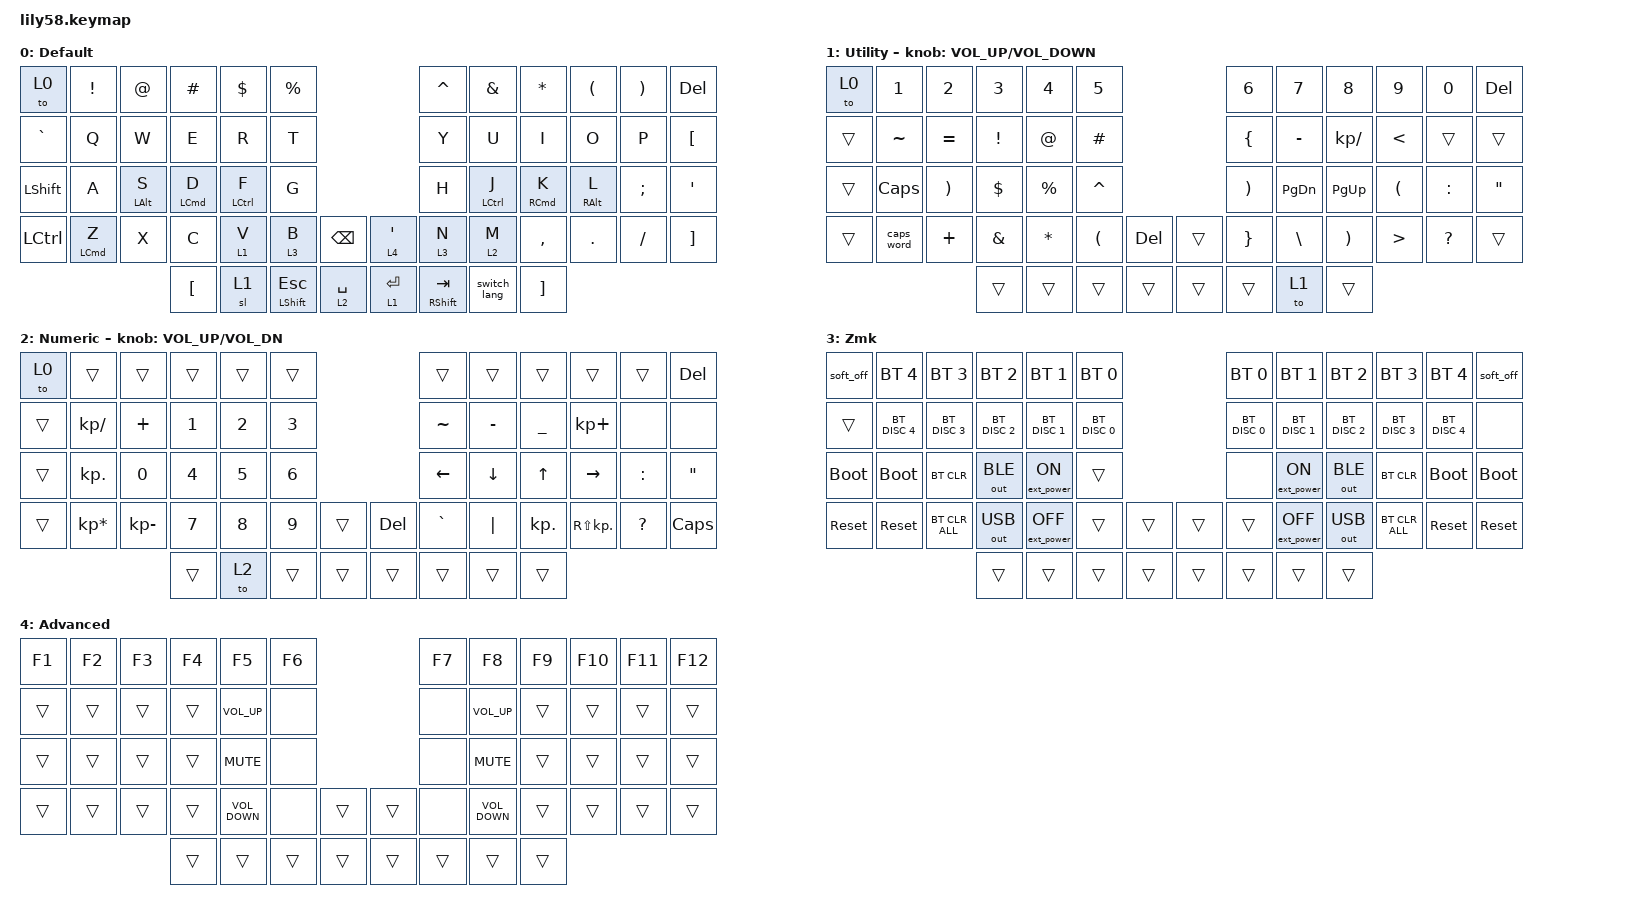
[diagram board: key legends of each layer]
/*
 * Copyright (c) 2020 The ZMK Contributors
 *
 * SPDX-License-Identifier: MIT
 */

#include <behaviors.dtsi>
#include <dt-bindings/zmk/bt.h>
#include <dt-bindings/zmk/ext_power.h>
#include <dt-bindings/zmk/keys.h>
#include <dt-bindings/zmk/outputs.h>

&mt {
    tapping-term-ms = <280>;
    flavor = "tap-preferred";
};

&lt {
    tapping-term-ms = <280>;
    flavor = "hold-preferred";
};

/ {
    macros {
        switch_lang: switch_lang {
            compatible = "zmk,behavior-macro";
            #binding-cells = <0>;
            bindings = <&macro_press &kp RALT>
                , <&macro_tap &kp SPACE>
                , <&macro_release &kp RALT>
                ;
            label = "SWITCH_LANG";
        };
    };

    behaviors {
        mt_cmds: mt_cmds {
            compatible = "zmk,behavior-hold-tap";
            label = "MT_CMDS";
            bindings = <&kp>, <&kp>;

            #binding-cells = <2>;
            tapping-term-ms = <340>;
            flavor = "balanced";
        };

        mt_zmk: mt_zmk {
            compatible = "zmk,behavior-hold-tap";
            label = "MT_ZMK";
            bindings = <&mo>, <&kp>;

            #binding-cells = <2>;
            tapping-term-ms = <1000>;
            flavor = "tap-preferred";
        };

        lt_cmds: lt_cmds {
            compatible = "zmk,behavior-hold-tap";
            label = "LT_CMDS";
            bindings = <&mo>, <&kp>;

            #binding-cells = <2>;
            tapping-term-ms = <340>;
            flavor = "tap-preferred";
        };

        mt_shifts: mt_shifts {
            compatible = "zmk,behavior-hold-tap";
            label = "MT_SHIFTS";
            bindings = <&kp>, <&kp>;

            #binding-cells = <2>;
            tapping-term-ms = <260>;
            flavor = "hold-preferred";
        };
    };

    keymap {
        compatible = "zmk,keymap";

        Default {
            // ------------------------------------------------------------------------------------------------------------
            // |  ESC  |  1  |  2  |  3   |  4   |  5   |                   |  6   |  7    |  8    |  9   |   0   |   `   |
            // |  TAB  |  Q  |  W  |  E   |  R   |  T   |                   |  Y   |  U    |  I    |  O   |   P   |   -   |
            // |  CTRL |  A  |  S  |  D   |  F   |  G   |                   |  H   |  J    |  K    |  L   |   ;   |   '   |
            // | SHIFT |  Z  |  X  |  C   |  V   |  B   |   "["  |  |  "]"  |  N   |  M    |  ,    |  .   |   /   | SHIFT |
            //                     | ALT  | GUI  | LOWER|  SPACE |  | ENTER | RAISE| BSPC  | GUI   |

            bindings = <
&to 0             &kp EXCLAMATION          &kp AT_SIGN          &kp HASH                 &kp DOLLAR               &kp PERCENT                                                        &kp CARET                   &kp AMPERSAND            &kp ASTERISK              &kp LEFT_PARENTHESIS  &kp RIGHT_PARENTHESIS  &kp DEL
&kp GRAVE         &kp Q                    &kp W                &kp E                    &kp R                    &kp T                                                              &kp Y                       &kp U                    &kp I                     &kp O                 &kp P                  &kp LEFT_BRACKET
&kp LEFT_SHIFT    &kp A                    &mt_cmds LEFT_ALT S  &mt_cmds LEFT_COMMAND D  &mt_cmds LEFT_CONTROL F  &kp G                                                              &kp H                       &mt_cmds LEFT_CONTROL J  &mt_cmds RIGHT_COMMAND K  &mt_cmds RIGHT_ALT L  &kp SEMI               &kp SQT
&kp LEFT_CONTROL  &mt_cmds LEFT_COMMAND Z  &kp X                &kp C                    &lt_cmds 1 V             &mt_zmk 3 B                   &kp BACKSPACE    &lt 4 SINGLE_QUOTE  &mt_zmk 3 N                 &lt_cmds 2 M             &kp COMMA                 &kp DOT               &kp FSLH               &kp RIGHT_BRACKET
                                                                &kp LEFT_BRACKET         &sl 1                    &mt_shifts LEFT_SHIFT ESCAPE  &lt 2 SPACE      &lt 1 ENTER         &mt_shifts RIGHT_SHIFT TAB  &switch_lang             &kp RIGHT_BRACKET
            >;
        };

        Utility {
            // ------------------------------------------------------------------------------------------------------------
            // | BTCLR | BT1 | BT2 |  BT3 |  BT4 |  BT5 |                   |      |       |       |      |       |       |
            // |  F1   |  F2 |  F3 |  F4  |  F5  |  F6  |                   |  F7  |  F8   |  F9   |  F10 |  F11  |  F12  |
            // |   `   |  !  |  @  |  #   |  $   |  %   |                   |  ^   |  &    |  *    |  (   |   )   |   ~   |
            // |       |     |     |      |      |      |        |  |       |      |  _    |  +    |  {   |   }   |  "|"  |
            //                     |      |      |      |        |  |       |      |       |       |

            bindings = <
&to 0   &kp NUMBER_1  &kp NUMBER_2           &kp NUMBER_3     &kp NUMBER_4  &kp NUMBER_5                                &kp NUMBER_6           &kp NUMBER_7   &kp NUMBER_8           &kp NUMBER_9          &kp NUMBER_0  &kp DELETE
&trans  &kp TILDE     &kp EQUAL              &kp EXCLAMATION  &kp AT_SIGN   &kp HASH                                    &kp LEFT_BRACE         &kp MINUS      &kp KP_SLASH           &kp LESS_THAN         &trans        &trans
&trans  &kp CAPSLOCK  &kp RIGHT_PARENTHESIS  &kp DOLLAR       &kp PERCENT   &kp CARET                                   &kp RIGHT_PARENTHESIS  &kp PAGE_DOWN  &kp PAGE_UP            &kp LEFT_PARENTHESIS  &kp COLON     &kp DOUBLE_QUOTES
&trans  &caps_word    &kp PLUS               &kp AMPERSAND    &kp ASTERISK  &kp LEFT_PARENTHESIS  &kp DELETE    &trans  &kp RIGHT_BRACE        &kp BACKSLASH  &kp RIGHT_PARENTHESIS  &kp GREATER_THAN      &kp QUESTION  &trans
                                             &trans           &trans        &trans                &trans        &trans  &trans                 &to 1          &trans
            >;

            sensor-bindings = <&inc_dec_kp C_VOLUME_UP K_VOLUME_DOWN>;
        };

        Numeric {
            // ------------------------------------------------------------------------------------------------------------
            // |       |     |     |      |      |      |                   |      |       |       |      |       |       |
            // |   `   |  1  |  2  |  3   |  4   |  5   |                   |  6   |   7   |   8   |  9   |   0   |       |
            // |   F1  |  F2 |  F3 |  F4  |  F5  |  F6  |                   |      |   <-  |   v   |  ^   |  ->   |       |
            // |   F7  |  F8 |  F9 |  F10 |  F11 |  F12 |        |  |       |  +   |   -   |   =   |  [   |   ]   |   \   |
            //                     |      |      |      |        |  |       |      |       |       |

            bindings = <
&to 0   &trans           &trans        &trans        &trans        &trans                              &trans          &trans          &trans          &trans           &trans        &kp DELETE
&trans  &kp KP_DIVIDE    &kp PLUS      &kp NUMBER_1  &kp NUMBER_2  &kp NUMBER_3                        &kp TILDE       &kp MINUS       &kp UNDERSCORE  &kp KP_PLUS      &none         &none
&trans  &kp KP_DOT       &kp NUMBER_0  &kp NUMBER_4  &kp NUMBER_5  &kp NUMBER_6                        &kp LEFT_ARROW  &kp DOWN_ARROW  &kp UP_ARROW    &kp RIGHT_ARROW  &kp COLON     &kp DOUBLE_QUOTES
&trans  &kp KP_MULTIPLY  &kp KP_MINUS  &kp NUMBER_7  &kp NUMBER_8  &kp NUMBER_9  &trans    &kp DELETE  &kp GRAVE       &kp PIPE        &kp KP_DOT      &kp RS(KP_DOT)   &kp QUESTION  &kp CAPSLOCK
                                       &trans        &to 2         &trans        &trans    &trans      &trans          &trans          &trans
            >;

            sensor-bindings = <&inc_dec_kp C_VOL_UP C_VOL_DN>;
        };

        Zmk {
            bindings = <
&soft_off    &bt BT_SEL 4   &bt BT_SEL 3    &bt BT_SEL 2   &bt BT_SEL 1       &bt BT_SEL 0                     &bt BT_SEL 0   &bt BT_SEL 1       &bt BT_SEL 2   &bt BT_SEL 3    &bt BT_SEL 4   &soft_off
&trans       &bt BT_DISC 4  &bt BT_DISC 3   &bt BT_DISC 2  &bt BT_DISC 1      &bt BT_DISC 0                    &bt BT_DISC 0  &bt BT_DISC 1      &bt BT_DISC 2  &bt BT_DISC 3   &bt BT_DISC 4  &none
&bootloader  &bootloader    &bt BT_CLR      &out OUT_BLE   &ext_power EP_ON   &trans                           &none          &ext_power EP_ON   &out OUT_BLE   &bt BT_CLR      &bootloader    &bootloader
&sys_reset   &sys_reset     &bt BT_CLR_ALL  &out OUT_USB   &ext_power EP_OFF  &trans         &trans    &trans  &trans         &ext_power EP_OFF  &out OUT_USB   &bt BT_CLR_ALL  &sys_reset     &sys_reset
                                            &trans         &trans             &trans         &trans    &trans  &trans         &trans             &trans
            >;
        };

        Advanced {
            bindings = <
&kp F1  &kp F2  &kp F3  &kp F4  &kp F5             &kp F6                    &kp F7  &kp F8             &kp F9  &kp F10  &kp F11  &kp F12
&trans  &trans  &trans  &trans  &kp C_VOLUME_UP    &none                     &none   &kp C_VOLUME_UP    &trans  &trans   &trans   &trans
&trans  &trans  &trans  &trans  &kp C_MUTE         &none                     &none   &kp C_MUTE         &trans  &trans   &trans   &trans
&trans  &trans  &trans  &trans  &kp C_VOLUME_DOWN  &none   &trans    &trans  &none   &kp C_VOLUME_DOWN  &trans  &trans   &trans   &trans
                        &trans  &trans             &trans  &trans    &trans  &trans  &trans             &trans
            >;
        };
    };
};
